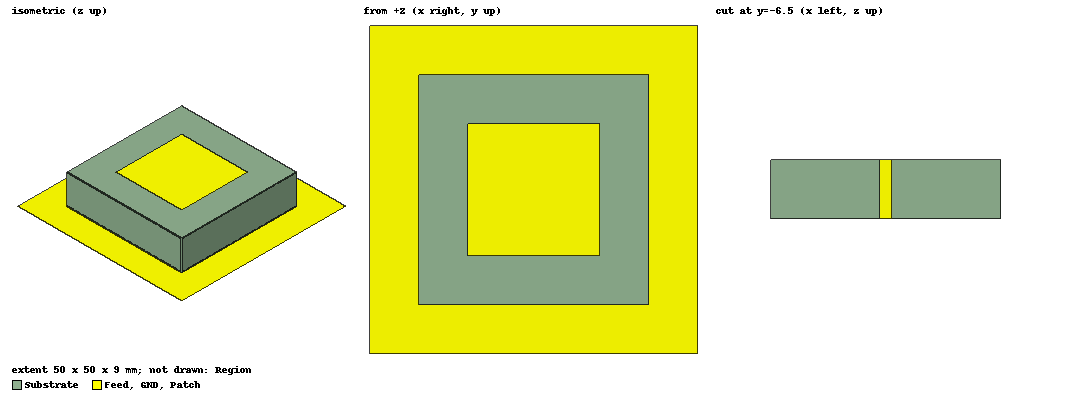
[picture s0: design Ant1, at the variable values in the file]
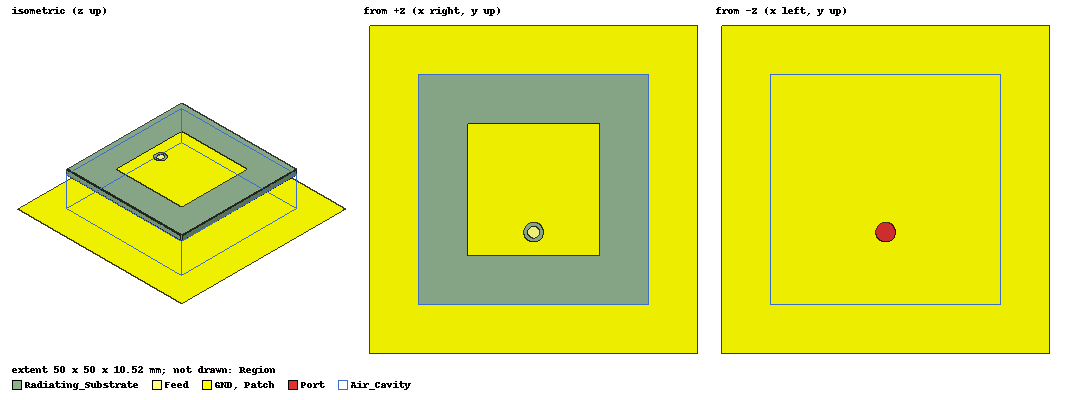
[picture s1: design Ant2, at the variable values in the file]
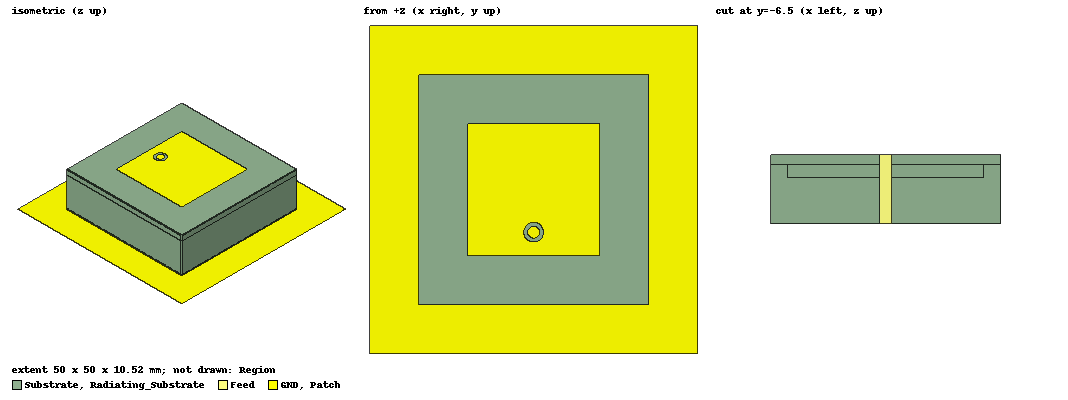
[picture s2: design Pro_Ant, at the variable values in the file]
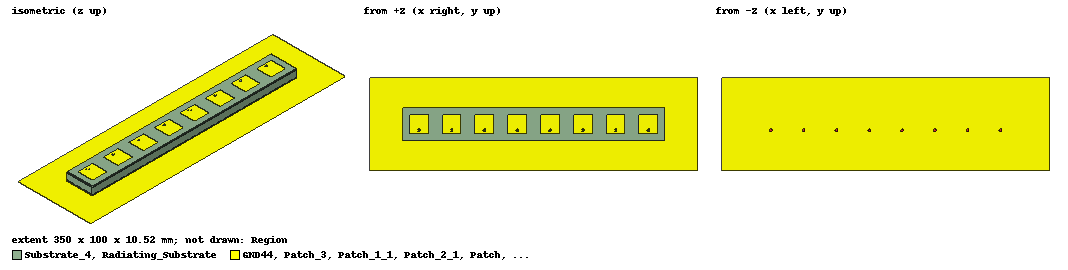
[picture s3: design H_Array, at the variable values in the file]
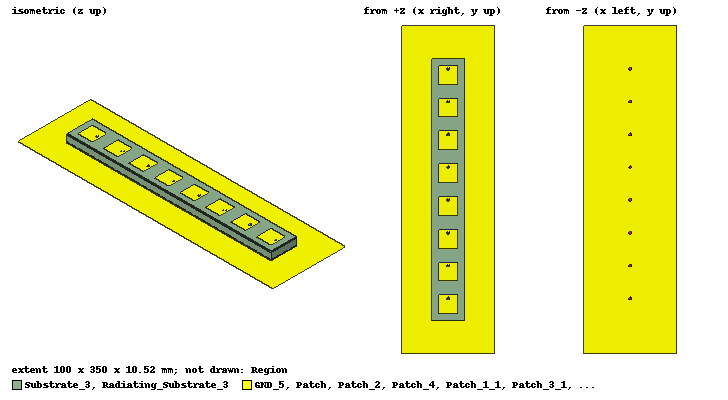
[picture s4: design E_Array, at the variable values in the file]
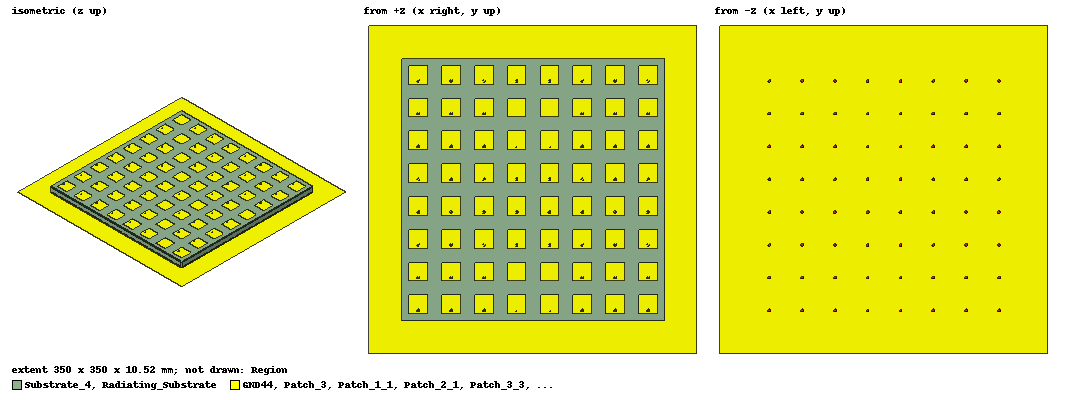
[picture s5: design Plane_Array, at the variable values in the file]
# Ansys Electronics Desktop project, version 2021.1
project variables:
  $Lg = 50mm
  $Ls = 35mm
  $Lp = 20mm
  $R1 = 0.9mm
  $R2 = 1.5mm
  $Kz = 3.5mm
  $La = 30mm  # optimise 15mm..45mm
  $H0 = 9mm
  $Ha = 2mm  # optimise 1mm..3mm
  $Ht = 1.524mm
  $L0 = 350mm
  $W0 = 100mm
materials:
  vacuum: permittivity=1
  FR4_epoxy: permittivity=4.4 dielectric_loss_tangent=0.02
  pec: conductivity=1e+30
  air: permittivity=1.0006 permeability=1.0000004
  Radiating_Substrate: permittivity=3.55
  polyamide: permittivity=4.3 dielectric_loss_tangent=0.004
  Rogers RO4003 (tm): permittivity=3.55 dielectric_loss_tangent=0.0027
  Rogers RT/duroid 5880 (tm): permittivity=2.2 dielectric_loss_tangent=0.0009
  Neltec NY9220(IM) (tm): permittivity=2.2 dielectric_loss_tangent=0.0009
  Duroid (tm): permittivity=2.2 dielectric_loss_tangent=0.0009
  copper: permeability=0.999991 conductivity=58000000
  Substrate: permittivity=2.2
  Material1: permittivity=2.2
  Material2: permittivity=3.55
  PMLGroup1_Z_1: permittivity{anisotropic component1=1.1 component2=1.1 component3=0.45454545} permeability{anisotropic component1=1.1 component2=1.1 component3=0.45454545} dielectric_loss_tangent{anisotropic component1=1 component2=1 component3=-1} magnetic_loss_tangent{anisotropic component1=1 component2=1 component3=-1}
  PMLGroup1_XZ_1: permittivity{anisotropic component1=1 component2=0.01 component3=1} permeability{anisotropic component1=1 component2=0.01 component3=1} dielectric_loss_tangent{anisotropic component1=0 component2=242 component3=0} magnetic_loss_tangent{anisotropic component1=0 component2=242 component3=0}
  PMLGroup1_YZ_1: permittivity{anisotropic component1=0.01 component2=1 component3=1} permeability{anisotropic component1=0.01 component2=1 component3=1} dielectric_loss_tangent{anisotropic component1=242 component2=0 component3=0} magnetic_loss_tangent{anisotropic component1=242 component2=0 component3=0}
  PMLGroup1_XYZ_1: permittivity{anisotropic component1=1.1 component2=1.1 component3=1.1} permeability{anisotropic component1=1.1 component2=1.1 component3=1.1} dielectric_loss_tangent{anisotropic component1=1 component2=1 component3=1} magnetic_loss_tangent{anisotropic component1=1 component2=1 component3=1}

design Ant1 (HFSS, DrivenModal, model units mm)
options: Allow_Material_Override
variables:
  Length = 27mm
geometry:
  Substrate [Radiating_Substrate] = box(corner=(-$Ls/2, -$Ls/2, 0mm), size=($Ls, $Ls, $H0))
  Patch = rectangle(corner=(-$Lp/2, -$Lp/2, $H0), x_size=$Lp, y_size=$Lp)
  GND = rectangle(corner=(-$Lg/2, -$Lg/2, 0mm), x_size=$Lg, y_size=$Lg)
  Feed [pec] = cylinder(axis=Z, base_centre=(0mm, -$Lp/2+$Kz, 0mm), radius=$R1, height=$H0)
  Port = circle(normal=Z, centre=(0mm, -$Lp/2+$Kz, 0mm), radius=$R2)
  Port_1 = Port.copy()
  GND.subtract(Port_1)
  Feed_1 = Feed.copy()
  Substrate.subtract(Feed_1)
  Region [vacuum] = region(absolute_offset=Length on all sides)
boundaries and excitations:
  PerfE1: Perfect E Objects=Patch
  PerfE2: Perfect E Objects=GND
  Rad1: Radiation Objects=Region
  1: Lumped Port Objects=Port Modes{Mode1{IntLine{Feed.edge(1 of 2) at 0.25 along -> Port.edge(1 of 1) at -0.25 along} CharImp=Zpi RenormImp=50ohm}} Impedance=50ohm
  reference conductors: Feed, GND
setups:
  Setup1: HfssDriven Frequency=3.8GHz MaxDeltaS=0.02 MaximumPasses=20 MinimumPasses=1 MinimumConvergedPasses=1 PercentRefinement=30 BasisOrder=1 PortAccuracy=2
    sweep Sweep: 2.5GHz to 5GHz step 0.01GHz; Type=Fast SaveFields
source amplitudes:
  1:1: 1W 0deg
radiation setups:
  Infinite Sphere1: Infinite Sphere Theta=-180deg..180deg step 1deg Phi=0deg..90deg step 90deg
  Infinite Sphere2: Infinite Sphere Theta=-180deg..180deg step 1deg Phi=-180deg..180deg step 1deg
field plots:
  Mag_E1: E Field on Setup1 : LastAdaptive at Freq=3.8GHz Phase=0deg
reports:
  Gain Plot 1: dB(GainTotal) vs Theta on Setup1 : Sweep, Infinite Sphere1 [Phi=0deg Freq=3.44GHz Length=all]; markers m1 at 0deg, m2 at 56deg, m3 at 53deg, m4 at 52deg, m5 at -87deg, m6 at 179deg
  Gain Plot 2: dB(GainTotal) vs Theta on Setup1 : Sweep, Infinite Sphere1 [Phi=90deg Freq=3.44GHz]
  Gain Plot 3: dB(GainTotal) vs Phi, Theta on Setup1 : Sweep, Infinite Sphere2 [Freq=3.44GHz]
  S Parameter Plot 1: dB(S(1,1)) vs Freq on Setup1 : Sweep; markers m1 at 3.26GHz, m2 at 3.62GHz, m3 at 3.61GHz, m4 at 3.29GHz, m5 at 3.29GHz, m6 at 3.12GHz, m7 at 2.68GHz, m8 at 2.68GHz, m9 at 3.44GHz, m10 at 3.43GHz

design Ant2 (HFSS, DrivenModal, model units mm)
options: Allow_Material_Override
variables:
  length = 35mm
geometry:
  Patch = rectangle(corner=(-$Lp/2, -$Lp/2, $H0+$Ht), x_size=$Lp, y_size=$Lp)
  GND = rectangle(corner=(-$Lg/2, -$Lg/2, 0mm), x_size=$Lg, y_size=$Lg)
  Port = circle(normal=Z, centre=(0mm, -$Lp/2+$Kz, 0mm), radius=$R2)
  Port_1 = Port.copy()
  GND.subtract(Port_1)
  Radiating_Substrate [Radiating_Substrate] = box(corner=(-$Ls/2, -$Ls/2, $H0), size=($Ls, $Ls, $Ht))
  Air_Cavity [vacuum] = box(corner=(-$Ls/2, -$Ls/2, 0mm), size=($Ls, $Ls, $H0))
  Feed [pec] = cylinder(axis=Z, base_centre=(0mm, -$Lp/2+$Kz, 0mm), radius=$R1, height=$H0+$Ht)
  port_2 = circle(normal=Z, centre=(0mm, -$Lp/2+$Kz, $Ht+$H0), radius=$R2)
  Patch.subtract(port_2)
  Feed_1 = Feed.copy()
  Radiating_Substrate.subtract(Feed_1)
  Region [vacuum] = region(absolute_offset=10mm on all sides)
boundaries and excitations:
  PerfE1: Perfect E Objects=Patch
  PerfE2: Perfect E Objects=GND
  Rad1: Radiation Objects=Region
  1: Lumped Port Objects=Port Modes{Mode1{IntLine{centre of Port.face(at (0, -6.5, 0)) -> Port.edge(1 of 1) at -0.25 along} CharImp=Zpi RenormImp=50ohm}} Impedance=50ohm
  reference conductors: GND
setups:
  Setup1: HfssDriven Frequency=3.8GHz MaxDeltaS=0.02 MaximumPasses=80 MinimumPasses=1 MinimumConvergedPasses=1 PercentRefinement=30 BasisOrder=1 PortAccuracy=2
    sweep Sweep: 2.5GHz to 5GHz step 0.01GHz; Type=Interpolating InterpTolerance=0.5 InterpMaxSolns=250 InterpUsePortImped=false InterpUsePropConst=false PassivityErrorTolerance=0.0001
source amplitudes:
  1:1: 1W 0deg
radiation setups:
  Infinite Sphere1: Infinite Sphere Theta=-180deg..180deg step 1deg Phi=0deg..90deg step 90deg
  Infinite Sphere2: Infinite Sphere Theta=-180deg..180deg step 1deg Phi=-180deg..180deg step 1deg
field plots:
  Mag_E1: E Field on Setup1 : LastAdaptive at Freq=3.8GHz Phase=0deg
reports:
  S Parameter Plot 1: dB(S(1,1)) vs Freq on Setup1 : Sweep; markers m1 at 3.32GHz, m2 at 4.78GHz, m3 at 4.77GHz, m4 at 3.32GHz, m5 at 3.33GHz
  Gain Plot 1: dB(GainTotal) vs Theta on Setup1 : LastAdaptive, Infinite Sphere1 [Phi=0deg Freq=3.8GHz]; markers m1 at 0deg, m2 at 39deg, m3 at 42deg, m4 at 44deg, m5 at -178deg
  Gain Plot 2: dB(GainTotal) vs Theta on Setup1 : LastAdaptive, Infinite Sphere1 [Phi=90deg Freq=3.8GHz]
  Gain Plot 3: dB(GainTotal) vs Phi, Theta on Setup1 : LastAdaptive, Infinite Sphere2 [Freq=3.8GHz]

design Pro_Ant (HFSS, DrivenModal, model units mm)
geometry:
  Substrate [Substrate] = box(corner=(-$Ls/2, -$Ls/2, 0mm), size=($Ls, $Ls, $H0))
  GND = rectangle(corner=(-$Lg/2, -$Lg/2, 0mm), x_size=$Lg, y_size=$Lg)
  Air_Cavity = box(corner=(-$La/2, -$La/2, $H0), size=($La, $La, -$Ha))
  Radiating_Substrate [Radiating_Substrate] = box(corner=(-$Ls/2, -$Ls/2, $H0), size=($Ls, $Ls, $Ht))
  Patch = rectangle(corner=(-$Lp/2, -$Lp/2, $H0+$Ht), x_size=$Lp, y_size=$Lp)
  Circle_da = circle(normal=Z, centre=(0mm, -$Lp/2+$Kz, $H0+$Ht), radius=$R2)
  Circle_xaio = circle(normal=Z, centre=(0mm, -$Lp/2+$Kz, $H0+$Ht), radius=$R1)
  Circle_da.subtract(Circle_xaio)
  Patch.subtract(Circle_da)
  Feed [pec] = cylinder(axis=Z, base_centre=(0mm, -$Lp/2+$Kz, 0mm), radius=$R1, height=$H0+$Ht)
  Port = circle(normal=Z, centre=(0mm, -$Lp/2+$Kz, 0mm), radius=$R2)
  Feed_1 = Feed.copy()
  Radiating_Substrate.subtract(Feed_1)
  Feed_2 = Feed.copy()
  Substrate.subtract(Feed_2)
  Substrate.subtract(Air_Cavity)
  Port_1 = Port.copy()
  GND.subtract(Port_1)
  point Point1 = (85mm, 0mm, 0mm)
  Region [vacuum] = region(absolute_offset=10mm on all sides)
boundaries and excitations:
  PerfE1: Perfect E Objects=GND
  PerfE2: Perfect E Objects=Patch
  Rad1: Radiation Objects=Region
  1: Lumped Port Objects=Port Modes{Mode1{IntLine{centre of Port.face(at (0, -6.5, 0)) -> middle of Port.edge(1 of 1)} CharImp=Zpi RenormImp=50ohm}} Impedance=50ohm
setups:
  Setup1: HfssDriven Frequency=3.8GHz MaxDeltaS=0.02 MaximumPasses=20 MinimumPasses=1 MinimumConvergedPasses=1 PercentRefinement=30 BasisOrder=1 PortAccuracy=2
    sweep Sweep: 2.5GHz to 5GHz step 0.01GHz; Type=Fast SaveFields
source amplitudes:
  1:1: 1W 0deg
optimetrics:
  ParametricSetup1: Parametric Sim._Setups=[Setup1]
    sweep $Ha: LIN 0mm 8mm 2mm
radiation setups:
  Infinite Sphere1: Infinite Sphere Theta=-180deg..180deg step 1deg Phi=0deg..90deg step 90deg
  Infinite Sphere2: Infinite Sphere Theta=-180deg..180deg step 1deg Phi=-180deg..180deg step 1deg
  Infinite Sphere3: Infinite Sphere Theta=0deg..180deg step 5deg Phi=-180deg..180deg step 5deg
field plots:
  Mag_E1: E Field on Setup1 : LastAdaptive at Freq=3.8GHz Phase=0deg
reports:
  Gain Plot 2: dB(GainTotal) vs Theta on Setup1 : LastAdaptive, Infinite Sphere1 [Phi=90deg Freq=3.8GHz]
  Gain Plot 3: dB(GainTotal) vs Phi, Theta on Setup1 : LastAdaptive, Infinite Sphere2 [Freq=3.8GHz]
  S Parameter Plot 1: dB(S(1,1)) vs Freq on Setup1 : Sweep [$Ha=2mm]; markers m1 at 3.1GHz, m2 at 4.9GHz, m3 at 4.93GHz
  Gain Plot 1: dB(GainTotal) vs Theta on Setup1 : LastAdaptive, Infinite Sphere1 [Phi=0deg Freq=3.8GHz]

design H_Array (HFSS, DrivenModal, model units mm)
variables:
  Length = 20mm  # optimise 7.5mm..22.5mm
  afa = 0deg  # optimise 76.5deg..229.5deg
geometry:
  Substrate = box(corner=(-$Ls/2, -$Ls/2, 0mm), size=($Ls, $Ls, $H0))
  GND = rectangle(corner=(-$Ls/2, -$W0/2, 0mm), x_size=$Ls, y_size=$W0)
  Air_Cavity = box(corner=(-$La/2, -$La/2, $H0), size=($La, $La, -$Ha))
  Radiating_Substrate [Radiating_Substrate] = box(corner=(-$Ls/2, -$Ls/2, $H0), size=($Ls, $Ls, $Ht))
  Patch = rectangle(corner=(-$Lp/2, -$Lp/2, $H0+$Ht), x_size=$Lp, y_size=$Lp)
  Circle_da = circle(normal=Z, centre=(0mm, -$Lp/2+$Kz, $H0+$Ht), radius=$R2)
  Circle_xaio = circle(normal=Z, centre=(0mm, -$Lp/2+$Kz, $H0+$Ht), radius=$R1)
  Circle_da.subtract(Circle_xaio)
  Patch.subtract(Circle_da)
  Feed [pec] = cylinder(axis=Z, base_centre=(0mm, -$Lp/2+$Kz, 0mm), radius=$R1, height=$H0+$Ht)
  Port = circle(normal=Z, centre=(0mm, -$Lp/2+$Kz, 0mm), radius=$R2)
  Feed_1 = Feed.copy()
  Radiating_Substrate.subtract(Feed_1)
  Feed_2 = Feed.copy()
  Substrate.subtract(Feed_2)
  Substrate.subtract(Air_Cavity)
  Port_1 = Port.copy()
  GND.subtract(Port_1)
  point Point1 = (85mm, 0mm, 0mm)
  Substrate_1, Substrate_2, Substrate_3 = Substrate.duplicate_along_line(step=(35mm, 0mm, 0mm), total=4)
  GND_1, GND_2, GND_3 = GND.duplicate_along_line(step=(35mm, 0mm, 0mm), total=4)
  Radiating_Substrate_1, Radiating_Substrate_2, Radiating_Substrate_3 = Radiating_Substrate.duplicate_along_line(step=(35mm, 0mm, 0mm), total=4)
  Patch_1, Patch_2, Patch_3 = Patch.duplicate_along_line(step=(35mm, 0mm, 0mm), total=4)
  Feed_3, Feed_4, Feed_5 [pec] = Feed.duplicate_along_line(step=(35mm, 0mm, 0mm), total=4)
  Port_2, Port_3, Port_4 = Port.duplicate_along_line(step=(35mm, 0mm, 0mm), total=4)
  Substrate_4 [Substrate] = Substrate.duplicate_along_line(step=(-140mm, 0mm, 0mm), total=2)
  Radiating_Substrate_4 = Radiating_Substrate.duplicate_along_line(step=(-140mm, 0mm, 0mm), total=2)
  Patch_4 = Patch.duplicate_along_line(step=(-140mm, 0mm, 0mm), total=2)
  Feed_6 [pec] = Feed.duplicate_along_line(step=(-140mm, 0mm, 0mm), total=2)
  Port_5 = Port.duplicate_along_line(step=(-140mm, 0mm, 0mm), total=2)
  Substrate_1_1 = Substrate_1.duplicate_along_line(step=(-140mm, 0mm, 0mm), total=2)
  Substrate_2_1 = Substrate_2.duplicate_along_line(step=(-140mm, 0mm, 0mm), total=2)
  Substrate_3_1 = Substrate_3.duplicate_along_line(step=(-140mm, 0mm, 0mm), total=2)
  GND_1_1 = GND_1.duplicate_along_line(step=(-140mm, 0mm, 0mm), total=2)
  GND_2_1 = GND_2.duplicate_along_line(step=(-140mm, 0mm, 0mm), total=2)
  GND_3_1 = GND_3.duplicate_along_line(step=(-140mm, 0mm, 0mm), total=2)
  GND_3.delete()
  Radiating_Substrate_1_1 = Radiating_Substrate_1.duplicate_along_line(step=(-140mm, 0mm, 0mm), total=2)
  Radiating_Substrate_2_1 = Radiating_Substrate_2.duplicate_along_line(step=(-140mm, 0mm, 0mm), total=2)
  Radiating_Substrate_3_1 = Radiating_Substrate_3.duplicate_along_line(step=(-140mm, 0mm, 0mm), total=2)
  Patch_1_1 = Patch_1.duplicate_along_line(step=(-140mm, 0mm, 0mm), total=2)
  Patch_2_1 = Patch_2.duplicate_along_line(step=(-140mm, 0mm, 0mm), total=2)
  Patch_3_1 = Patch_3.duplicate_along_line(step=(-140mm, 0mm, 0mm), total=2)
  Feed_3_1 [pec] = Feed_3.duplicate_along_line(step=(-140mm, 0mm, 0mm), total=2)
  Feed_4_1 [pec] = Feed_4.duplicate_along_line(step=(-140mm, 0mm, 0mm), total=2)
  Feed_5_1 [pec] = Feed_5.duplicate_along_line(step=(-140mm, 0mm, 0mm), total=2)
  Port_2_1 = Port_2.duplicate_along_line(step=(-140mm, 0mm, 0mm), total=2)
  Port_3_1 = Port_3.duplicate_along_line(step=(-140mm, 0mm, 0mm), total=2)
  Port_4_1 = Port_4.duplicate_along_line(step=(-140mm, 0mm, 0mm), total=2)
  Radiating_Substrate.unite(Radiating_Substrate_1, Radiating_Substrate_1_1, Radiating_Substrate_2, Radiating_Substrate_2_1, Radiating_Substrate_3, Radiating_Substrate_3_1, Radiating_Substrate_4)
  Substrate_4.unite(Substrate_3_1, Substrate_3, Substrate_2_1, Substrate_2, Substrate_1_1, Substrate_1, Substrate)
  GND33 = rectangle(corner=(-5.5*$Ls, -$W0/2, 0mm), x_size=2*$Ls, y_size=$W0)
  Port_5_1 = Port_5.copy()
  GND33.subtract(Port_5_1)
  GND44 = rectangle(corner=(2.5*$Ls, -$W0/2, 0mm), x_size=2*$Ls, y_size=$W0)
  Port_4_2 = Port_4.copy()
  GND44.subtract(Port_4_2)
  GND44.unite(GND_2, GND_1, GND, GND_3_1, GND_2_1, GND_1_1, GND33)
  Region [vacuum] = region(absolute_offset=Length on all sides)
  point Point2 = (-50mm, 30mm, 0mm)
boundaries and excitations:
  PerfE2: Perfect E Objects=Patch
  PerfE4: Perfect E Objects=Patch_1
  PerfE6: Perfect E Objects=Patch_2
  PerfE8: Perfect E Objects=Patch_3
  PerfE10: Perfect E Objects=Patch_4
  PerfE12: Perfect E Objects=Patch_1_1
  PerfE14: Perfect E Objects=Patch_2_1
  PerfE16: Perfect E Objects=Patch_3_1
  PerfE18: Perfect E Objects=GND44
  Rad1: Radiation Objects=Region
  1: Lumped Port Objects=Port_4 Modes{Mode1{IntLine{centre of Port_4.face(1 of 1) -> middle of Port_4.edge(1 of 1)} CharImp=Zpi RenormImp=50ohm}} Impedance=50ohm
  2: Lumped Port Objects=Port_3 Modes{Mode1{IntLine{centre of Port_3.face -> middle of Port_3.edge(1 of 1)} CharImp=Zpi RenormImp=50ohm}} Impedance=50ohm
  3: Lumped Port Objects=Port_2 Modes{Mode1{IntLine{centre of Port_2.face -> middle of Port_2.edge(1 of 1)} CharImp=Zpi RenormImp=50ohm}} Impedance=50ohm
  4: Lumped Port Objects=Port Modes{Mode1{IntLine{centre of Port.face(at (0, -6.5, 0)) -> middle of Port.edge(1 of 1)} CharImp=Zpi RenormImp=50ohm}} Impedance=50ohm
  5: Lumped Port Objects=Port_4_1 Modes{Mode1{IntLine{centre of Port_4_1.face -> middle of Port_4_1.edge(1 of 1)} CharImp=Zpi RenormImp=50ohm}} Impedance=50ohm
  6: Lumped Port Objects=Port_3_1 Modes{Mode1{IntLine{centre of Port_3_1.face -> middle of Port_3_1.edge(1 of 1)} CharImp=Zpi RenormImp=50ohm}} Impedance=50ohm
  7: Lumped Port Objects=Port_2_1 Modes{Mode1{IntLine{centre of Port_2_1.face -> middle of Port_2_1.edge(1 of 1)} CharImp=Zpi RenormImp=50ohm}} Impedance=50ohm
  8: Lumped Port Objects=Port_5 Modes{Mode1{IntLine{centre of Port_5.face(1 of 1) -> middle of Port_5.edge(1 of 1)} CharImp=Zpi RenormImp=50ohm}} Impedance=50ohm
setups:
  Setup1: HfssDriven Frequency=3.8GHz MaxDeltaS=0.02 MaximumPasses=20 MinimumPasses=1 MinimumConvergedPasses=1 PercentRefinement=30 BasisOrder=1 PortAccuracy=2
    sweep Sweep: 2.5GHz to 5GHz step 0.01GHz; Type=Fast SaveFields
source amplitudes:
  1:1: 1W afa
  2:1: 1W afa*2
  3:1: 1W afa*3
  4:1: 1W afa*4
  5:1: 1W afa*5
  6:1: 1W afa*6
  7:1: 1W afa*7
  8:1: 1W afa*8
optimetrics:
  ParametricSetup1: Parametric Sim._Setups=[Setup1]
    sweep $Ha: LIN 0mm 8mm 2mm
  ParametricSetup2: Parametric Sim._Setups=[Setup1]
    sweep $La: LIN 15mm 30mm 3mm
  ParametricSetup3: Parametric Sim._Setups=[Setup1]
    sweep afa: LIN -180deg 180deg 5deg
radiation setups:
  Infinite Sphere1: Infinite Sphere Theta=0deg..180deg step 1deg Phi=-180deg..180deg step 1deg
  Infinite Sphere2: Infinite Sphere Theta=-180deg..180deg step 1deg Phi=0deg..90deg step 90deg
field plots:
  Mag_E1: E Field on Setup1 : Sweep at Freq=3.8GHz Phase=0deg
  ComplexMag_E1: E Field on Setup1 : LastAdaptive at Freq=3.8GHz Phase=0deg
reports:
  Active S Parameter Plot 1: dB(ActiveS(1:1)) vs Freq on Setup1 : Sweep [Length=20mm $Ha=all]
  Active S Parameter Plot 2: dB(ActiveS(4:1)) vs Freq on Setup1 : Sweep [Length=all $La=15mm,18mm,21mm,24mm,27mm,30mm $Ha=2mm]
  Realized Gain Plot 2: dB(RealizedGainTotal) vs Theta on Setup1 : LastAdaptive, Infinite Sphere2 [Phi=0deg Freq=3.8GHz Length=all $La=30mm $Ha=2mm]; markers m1 at 60deg, m2 at 59deg, m3 at 58deg, m4 at 61deg, m5 at 62deg
  Realized Gain Plot 3: RealizedGainTotal vs Phi, Theta on Setup1 : LastAdaptive, Infinite Sphere1 [Freq=3.8GHz $La=30mm $Ha=2mm afa=-92deg]
  Realized Gain Plot 4: RealizedGainTotal vs Theta on Setup1 : LastAdaptive, Infinite Sphere2 [Phi=0deg Freq=3.8GHz Length=20mm $Ha=2mm afa=-175deg]

design E_Array (HFSS, DrivenModal, model units mm)
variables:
  Length = 28mm  # optimise 5mm..15mm
  afa = 0deg  # optimise -1deg..1deg
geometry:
  Substrate = box(corner=(-$Ls/2, -$Ls/2, 0mm), size=($Ls, $Ls, $H0))
  GND = rectangle(corner=(-$W0/2, -$Ls/2, 0mm), x_size=$W0, y_size=$Ls)
  Air_Cavity = box(corner=(-$La/2, -$La/2, $H0), size=($La, $La, -$Ha))
  Radiating_Substrate = box(corner=(-$Ls/2, -$Ls/2, $H0), size=($Ls, $Ls, $Ht))
  Patch = rectangle(corner=(-$Lp/2, -$Lp/2, $H0+$Ht), x_size=$Lp, y_size=$Lp)
  Circle_da = circle(normal=Z, centre=(0mm, -$Lp/2+$Kz, $H0+$Ht), radius=$R2)
  Circle_xaio = circle(normal=Z, centre=(0mm, -$Lp/2+$Kz, $H0+$Ht), radius=$R1)
  Circle_da.subtract(Circle_xaio)
  Patch.subtract(Circle_da)
  Feed [pec] = cylinder(axis=Z, base_centre=(0mm, -$Lp/2+$Kz, 0mm), radius=$R1, height=$H0+$Ht)
  Port = circle(normal=Z, centre=(0mm, -$Lp/2+$Kz, 0mm), radius=$R2)
  Feed_1 = Feed.copy()
  Radiating_Substrate.subtract(Feed_1)
  Feed_2 = Feed.copy()
  Substrate.subtract(Feed_2)
  Substrate.subtract(Air_Cavity)
  Port_1 = Port.copy()
  GND.subtract(Port_1)
  point Point1 = (85mm, 0mm, 0mm)
  Substrate_3 [Substrate], Substrate_1, Substrate_2 = Substrate.duplicate_along_line(step=(0mm, 35mm, 0mm), total=4)
  GND_1, GND_2, GND_3 = GND.duplicate_along_line(step=(0mm, 35mm, 0mm), total=4)
  Radiating_Substrate_3 [Radiating_Substrate], Radiating_Substrate_1, Radiating_Substrate_2 = Radiating_Substrate.duplicate_along_line(step=(0mm, 35mm, 0mm), total=4)
  Patch_1, Patch_2, Patch_3 = Patch.duplicate_along_line(step=(0mm, 35mm, 0mm), total=4)
  Feed_3, Feed_4, Feed_5 [pec] = Feed.duplicate_along_line(step=(0mm, 35mm, 0mm), total=4)
  Port_2, Port_3, Port_4 = Port.duplicate_along_line(step=(0mm, 35mm, 0mm), total=4)
  Substrate_4 = Substrate.duplicate_along_line(step=(0mm, -140mm, 0mm), total=2)
  Radiating_Substrate_4 = Radiating_Substrate.duplicate_along_line(step=(0mm, -140mm, 0mm), total=2)
  Patch_4 = Patch.duplicate_along_line(step=(0mm, -140mm, 0mm), total=2)
  Feed_6 [pec] = Feed.duplicate_along_line(step=(0mm, -140mm, 0mm), total=2)
  Port_5 = Port.duplicate_along_line(step=(0mm, -140mm, 0mm), total=2)
  Substrate_1_1 = Substrate_1.duplicate_along_line(step=(0mm, -140mm, 0mm), total=2)
  Substrate_2_1 = Substrate_2.duplicate_along_line(step=(0mm, -140mm, 0mm), total=2)
  Substrate_3_1 = Substrate_3.duplicate_along_line(step=(0mm, -140mm, 0mm), total=2)
  GND_1_1 = GND_1.duplicate_along_line(step=(0mm, -140mm, 0mm), total=2)
  GND_2_1 = GND_2.duplicate_along_line(step=(0mm, -140mm, 0mm), total=2)
  GND_3_1 = GND_3.duplicate_along_line(step=(0mm, -140mm, 0mm), total=2)
  GND_3.delete()
  Radiating_Substrate_1_1 = Radiating_Substrate_1.duplicate_along_line(step=(0mm, -140mm, 0mm), total=2)
  Radiating_Substrate_2_1 = Radiating_Substrate_2.duplicate_along_line(step=(0mm, -140mm, 0mm), total=2)
  Radiating_Substrate_3_1 = Radiating_Substrate_3.duplicate_along_line(step=(0mm, -140mm, 0mm), total=2)
  Patch_1_1 = Patch_1.duplicate_along_line(step=(0mm, -140mm, 0mm), total=2)
  Patch_2_1 = Patch_2.duplicate_along_line(step=(0mm, -140mm, 0mm), total=2)
  Patch_3_1 = Patch_3.duplicate_along_line(step=(0mm, -140mm, 0mm), total=2)
  Feed_3_1 [pec] = Feed_3.duplicate_along_line(step=(0mm, -140mm, 0mm), total=2)
  Feed_4_1 [pec] = Feed_4.duplicate_along_line(step=(0mm, -140mm, 0mm), total=2)
  Feed_5_1 [pec] = Feed_5.duplicate_along_line(step=(0mm, -140mm, 0mm), total=2)
  Port_2_1 = Port_2.duplicate_along_line(step=(0mm, -140mm, 0mm), total=2)
  Port_3_1 = Port_3.duplicate_along_line(step=(0mm, -140mm, 0mm), total=2)
  Port_4_1 = Port_4.duplicate_along_line(step=(0mm, -140mm, 0mm), total=2)
  Radiating_Substrate_3.unite(Radiating_Substrate_2, Radiating_Substrate_1, Radiating_Substrate, Radiating_Substrate_3_1, Radiating_Substrate_2_1, Radiating_Substrate_1_1, Radiating_Substrate_4)
  Substrate_3.unite(Substrate_2, Substrate_1, Substrate, Substrate_3_1, Substrate_2_1, Substrate_1_1, Substrate_4)
  GND_5 = rectangle(corner=(-$W0/2, 2.5*$Ls, 0mm), x_size=$W0, y_size=2*$Ls)
  Port_4_2 = Port_4.copy()
  GND_5.subtract(Port_4_2)
  GND_6 = rectangle(corner=(-$W0/2, -5.5*$LS, 0mm), x_size=$W0, y_size=2*$Ls)
  Port_5_1 = Port_5.copy()
  GND_6.subtract(Port_5_1)
  GND_5.unite(GND_2, GND_1, GND, GND_3_1, GND_2_1, GND_1_1, GND_6)
  Region [vacuum] = region(absolute_offset=Length on all sides)
  [Patch, Feed, Port, Substrate_3, Radiating_Substrate_3, Patch_1, Patch_2, Patch_3, Feed_3, Feed_4, Feed_5, Port_2, Port_3, Port_4, Patch_4, Feed_6, Port_5, Patch_1_1, Patch_2_1, Patch_3_1, Feed_3_1, Feed_4_1, Feed_5_1, Port_2_1, Port_3_1, Port_4_1, GND_5].rotate(axis=Z, angle=180deg)
  [Patch, Feed, Port, Substrate_3, Radiating_Substrate_3, Patch_1, Patch_2, Patch_3, Feed_3, Feed_4, Feed_5, Port_2, Port_3, Port_4, Patch_4, Feed_6, Port_5, Patch_1_1, Patch_2_1, Patch_3_1, Feed_3_1, Feed_4_1, Feed_5_1, Port_2_1, Port_3_1, Port_4_1, GND_5].move(0mm, -35mm, 0mm)
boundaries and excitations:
  PerfE2: Perfect E Objects=Patch
  PerfE4: Perfect E Objects=Patch_1
  PerfE6: Perfect E Objects=Patch_2
  PerfE8: Perfect E Objects=Patch_3
  PerfE10: Perfect E Objects=Patch_4
  PerfE12: Perfect E Objects=Patch_1_1
  PerfE14: Perfect E Objects=Patch_2_1
  PerfE16: Perfect E Objects=Patch_3_1
  PerfE17: Perfect E Objects=GND_5
  Rad1: Radiation Objects=Region
  1: Lumped Port Objects=Port_4 Modes{Mode1{IntLine{centre of Port_4.face(1 of 1) -> middle of Port_4.edge(1 of 1)} CharImp=Zpi RenormImp=50ohm}} Impedance=50ohm
  2: Lumped Port Objects=Port_3 Modes{Mode1{IntLine{centre of Port_3.face(1 of 1) -> middle of Port_3.edge(1 of 1)} CharImp=Zpi RenormImp=50ohm}} Impedance=50ohm
  3: Lumped Port Objects=Port_2 Modes{Mode1{IntLine{centre of Port_2.face(1 of 1) -> middle of Port_2.edge(1 of 1)} CharImp=Zpi RenormImp=50ohm}} Impedance=50ohm
  4: Lumped Port Objects=Port Modes{Mode1{IntLine{centre of Port.face(#215) -> middle of Port.edge(1 of 1)} CharImp=Zpi RenormImp=50ohm}} Impedance=50ohm
  5: Lumped Port Objects=Port_4_1 Modes{Mode1{IntLine{centre of Port_4_1.face(1 of 1) -> middle of Port_4_1.edge(1 of 1)} CharImp=Zpi RenormImp=50ohm}} Impedance=50ohm
  6: Lumped Port Objects=Port_3_1 Modes{Mode1{IntLine{centre of Port_3_1.face(1 of 1) -> middle of Port_3_1.edge(1 of 1)} CharImp=Zpi RenormImp=50ohm}} Impedance=50ohm
  7: Lumped Port Objects=Port_2_1 Modes{Mode1{IntLine{centre of Port_2_1.face(1 of 1) -> middle of Port_2_1.edge(1 of 1)} CharImp=Zpi RenormImp=50ohm}} Impedance=50ohm
  8: Lumped Port Objects=Port_5 Modes{Mode1{IntLine{centre of Port_5.face(1 of 1) -> middle of Port_5.edge(1 of 1)} CharImp=Zpi RenormImp=50ohm}} Impedance=50ohm
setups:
  Setup1: HfssDriven Frequency=3.8GHz MaxDeltaS=0.02 MaximumPasses=20 MinimumPasses=1 MinimumConvergedPasses=1 PercentRefinement=30 BasisOrder=1 PortAccuracy=2
    sweep Sweep: 2.5GHz to 5GHz step 0.01GHz; Type=Fast SaveFields
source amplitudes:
  1:1: 1W 7*afa
  2:1: 1W 6*afa
  3:1: 1W 5*afa
  4:1: 1W 4*afa
  5:1: 1W 3*afa
  6:1: 1W 2*afa
  7:1: 1W afa
  8:1: 1W 0deg
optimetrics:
  ParametricSetup1: Parametric Sim._Setups=[Setup1]
    sweep $Ha: LIN 0mm 8mm 2mm
  ParametricSetup2: Parametric Sim._Setups=[Setup1]
    sweep $La: LIN 15mm 30mm 3mm
  ParametricSetup3: Parametric Sim._Setups=[Setup1]
    sweep afa: LIN -180deg 180deg 5deg
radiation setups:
  Infinite Sphere1: Infinite Sphere Theta=-180deg..180deg step 1deg Phi=0deg..90deg step 90deg
  Infinite Sphere2: Infinite Sphere Theta=-180deg..180deg step 1deg Phi=-180deg..180deg step 1deg
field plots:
  Mag_E1: E Field on Setup1 : LastAdaptive at Freq=3.8GHz Phase=0deg
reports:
  Gain Plot 1: GainTotal vs Theta on Setup1 : LastAdaptive, Infinite Sphere1 [Phi=90deg Freq=3.8GHz Length=18mm $Ha=0mm]
  Realized Gain Plot 3: dB(RealizedGainTotal) vs Theta on Setup1 : LastAdaptive, Infinite Sphere1 [Phi=90deg Freq=3.8GHz Length=28mm $Ha=2mm]; markers m1 at 0deg
  Active S Parameter Plot 2: dB(ActiveS(4:1)) vs Freq on Setup1 : Sweep [Length=all $La=15mm,18mm,21mm,24mm,27mm,30mm $Ha=2mm]
  Realized Gain Plot 4: RealizedGainTotal vs Theta on Setup1 : LastAdaptive, Infinite Sphere1 [Phi=90deg Freq=3.8GHz Length=all $Ha=2mm]; markers m1 at 60deg, m2 at 61deg, m3 at 59deg
  Realized Gain Plot 5: RealizedGainTotal vs Phi, Theta on Setup1 : Sweep, Infinite Sphere2 [Freq=3.8GHz $La=30mm $Ha=2mm afa=0deg]

design Plane_Array (HFSS, DrivenModal, model units mm)
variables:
  W0 = 105mm
  length = 10mm
  afa = 60deg  # optimise 76.5deg..229.5deg
  beta = 0deg
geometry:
  Substrate = box(corner=(-$Ls/2, -$Ls/2, 0mm), size=($Ls, $Ls, $H0))
  GND = rectangle(corner=(-$Ls/2, -W0/2, 0mm), x_size=$Ls, y_size=W0)
  Air_Cavity = box(corner=(-$La/2, -$La/2, $H0), size=($La, $La, -$Ha))
  Radiating_Substrate [Radiating_Substrate] = box(corner=(-$Ls/2, -$Ls/2, $H0), size=($Ls, $Ls, $Ht))
  Patch = rectangle(corner=(-$Lp/2, -$Lp/2, $H0+$Ht), x_size=$Lp, y_size=$Lp)
  Circle_da = circle(normal=Z, centre=(0mm, -$Lp/2+$Kz, $H0+$Ht), radius=$R2)
  Circle_xaio = circle(normal=Z, centre=(0mm, -$Lp/2+$Kz, $H0+$Ht), radius=$R1)
  Circle_da.subtract(Circle_xaio)
  Patch.subtract(Circle_da)
  Feed [pec] = cylinder(axis=Z, base_centre=(0mm, -$Lp/2+$Kz, 0mm), radius=$R1, height=$H0+$Ht)
  Port = circle(normal=Z, centre=(0mm, -$Lp/2+$Kz, 0mm), radius=$R2)
  Feed_1 = Feed.copy()
  Radiating_Substrate.subtract(Feed_1)
  Feed_2 = Feed.copy()
  Substrate.subtract(Feed_2)
  Substrate.subtract(Air_Cavity)
  Port_1 = Port.copy()
  GND.subtract(Port_1)
  point Point1 = (85mm, 0mm, 0mm)
  Substrate_1, Substrate_2, Substrate_3 = Substrate.duplicate_along_line(step=(35mm, 0mm, 0mm), total=4)
  GND_1, GND_2, GND_3 = GND.duplicate_along_line(step=(35mm, 0mm, 0mm), total=4)
  Radiating_Substrate_1, Radiating_Substrate_2, Radiating_Substrate_3 = Radiating_Substrate.duplicate_along_line(step=(35mm, 0mm, 0mm), total=4)
  Patch_1, Patch_2, Patch_3 = Patch.duplicate_along_line(step=(35mm, 0mm, 0mm), total=4)
  Feed_3, Feed_4, Feed_5 [pec] = Feed.duplicate_along_line(step=(35mm, 0mm, 0mm), total=4)
  Port_2, Port_3, Port_4 = Port.duplicate_along_line(step=(35mm, 0mm, 0mm), total=4)
  Substrate_4 [Substrate] = Substrate.duplicate_along_line(step=(-140mm, 0mm, 0mm), total=2)
  Radiating_Substrate_4 = Radiating_Substrate.duplicate_along_line(step=(-140mm, 0mm, 0mm), total=2)
  Patch_4 = Patch.duplicate_along_line(step=(-140mm, 0mm, 0mm), total=2)
  Feed_6 [pec] = Feed.duplicate_along_line(step=(-140mm, 0mm, 0mm), total=2)
  Port_5 = Port.duplicate_along_line(step=(-140mm, 0mm, 0mm), total=2)
  Substrate_1_1 = Substrate_1.duplicate_along_line(step=(-140mm, 0mm, 0mm), total=2)
  Substrate_2_1 = Substrate_2.duplicate_along_line(step=(-140mm, 0mm, 0mm), total=2)
  Substrate_3_1 = Substrate_3.duplicate_along_line(step=(-140mm, 0mm, 0mm), total=2)
  GND_1_1 = GND_1.duplicate_along_line(step=(-140mm, 0mm, 0mm), total=2)
  GND_2_1 = GND_2.duplicate_along_line(step=(-140mm, 0mm, 0mm), total=2)
  GND_3_1 = GND_3.duplicate_along_line(step=(-140mm, 0mm, 0mm), total=2)
  GND_3.delete()
  Radiating_Substrate_1_1 = Radiating_Substrate_1.duplicate_along_line(step=(-140mm, 0mm, 0mm), total=2)
  Radiating_Substrate_2_1 = Radiating_Substrate_2.duplicate_along_line(step=(-140mm, 0mm, 0mm), total=2)
  Radiating_Substrate_3_1 = Radiating_Substrate_3.duplicate_along_line(step=(-140mm, 0mm, 0mm), total=2)
  Patch_1_1 = Patch_1.duplicate_along_line(step=(-140mm, 0mm, 0mm), total=2)
  Patch_2_1 = Patch_2.duplicate_along_line(step=(-140mm, 0mm, 0mm), total=2)
  Patch_3_1 = Patch_3.duplicate_along_line(step=(-140mm, 0mm, 0mm), total=2)
  Feed_3_1 [pec] = Feed_3.duplicate_along_line(step=(-140mm, 0mm, 0mm), total=2)
  Feed_4_1 [pec] = Feed_4.duplicate_along_line(step=(-140mm, 0mm, 0mm), total=2)
  Feed_5_1 [pec] = Feed_5.duplicate_along_line(step=(-140mm, 0mm, 0mm), total=2)
  Port_2_1 = Port_2.duplicate_along_line(step=(-140mm, 0mm, 0mm), total=2)
  Port_3_1 = Port_3.duplicate_along_line(step=(-140mm, 0mm, 0mm), total=2)
  Port_4_1 = Port_4.duplicate_along_line(step=(-140mm, 0mm, 0mm), total=2)
  Radiating_Substrate.unite(Radiating_Substrate_1, Radiating_Substrate_1_1, Radiating_Substrate_2, Radiating_Substrate_2_1, Radiating_Substrate_3, Radiating_Substrate_3_1, Radiating_Substrate_4)
  Substrate_4.unite(Substrate_3_1, Substrate_3, Substrate_2_1, Substrate_2, Substrate_1_1, Substrate_1, Substrate)
  GND33 = rectangle(corner=(-5.5*$Ls, -W0/2, 0mm), x_size=2*$Ls, y_size=W0)
  Port_5_1 = Port_5.copy()
  GND33.subtract(Port_5_1)
  GND44 = rectangle(corner=(2.5*$Ls, -W0/2, 0mm), x_size=2*$Ls, y_size=W0)
  Port_4_2 = Port_4.copy()
  GND44.subtract(Port_4_2)
  Extra1_Port = circle(normal=Z, centre=(3*$Ls, -$Lp/2+$Kz-$Ls, 0mm), radius=$R2)
  Extra2_Port = circle(normal=Z, centre=(3*$Ls, -$Lp/2+$Kz+$Ls, 0mm), radius=$R2)
  Extra1_Port_1..Extra1_Port_7 = Extra1_Port.duplicate_along_line(step=(-35mm, 0mm, 0mm), total=8)
  Extra2_Port_1..Extra2_Port_7 = Extra2_Port.duplicate_along_line(step=(-35mm, 0mm, 0mm), total=8)
  GND44.subtract(Extra1_Port, Extra2_Port)
  GND_2.subtract(Extra1_Port_1, Extra2_Port_1)
  GND_1.subtract(Extra1_Port_2, Extra2_Port_2)
  GND_1_1.subtract(Extra1_Port_6, Extra2_Port_6)
  GND_2_1.subtract(Extra1_Port_5, Extra2_Port_5)
  GND33.subtract(Extra1_Port_7, Extra2_Port_7)
  GND_3_1.subtract(Extra1_Port_4, Extra2_Port_4)
  GND.subtract(Extra1_Port_3, Extra2_Port_3)
  GND44.unite(GND_2, GND_1, GND, GND_3_1, GND_2_1, GND_1_1, GND33)
  Radiating_Substrate_5..Radiating_Substrate_11 = Radiating_Substrate.duplicate_along_line(step=(0mm, -35mm, 0mm), total=8)
  Patch_5..Patch_11 = Patch.duplicate_along_line(step=(0mm, -35mm, 0mm), total=8)
  Feed_7..Feed_13 [pec] = Feed.duplicate_along_line(step=(0mm, -35mm, 0mm), total=8)
  Port_6..Port_12 = Port.duplicate_along_line(step=(0mm, -35mm, 0mm), total=8)
  Patch_1_2..Patch_1_8 = Patch_1.duplicate_along_line(step=(0mm, -35mm, 0mm), total=8)
  Patch_2_2..Patch_2_8 = Patch_2.duplicate_along_line(step=(0mm, -35mm, 0mm), total=8)
  Patch_3_2..Patch_3_8 = Patch_3.duplicate_along_line(step=(0mm, -35mm, 0mm), total=8)
  Feed_3_2..Feed_3_8 [pec] = Feed_3.duplicate_along_line(step=(0mm, -35mm, 0mm), total=8)
  Feed_4_2..Feed_4_8 [pec] = Feed_4.duplicate_along_line(step=(0mm, -35mm, 0mm), total=8)
  Feed_5_2..Feed_5_8 [pec] = Feed_5.duplicate_along_line(step=(0mm, -35mm, 0mm), total=8)
  Port_2_2..Port_2_8 = Port_2.duplicate_along_line(step=(0mm, -35mm, 0mm), total=8)
  Port_3_2..Port_3_8 = Port_3.duplicate_along_line(step=(0mm, -35mm, 0mm), total=8)
  Port_4_3..Port_4_9 = Port_4.duplicate_along_line(step=(0mm, -35mm, 0mm), total=8)
  Substrate_4_1..Substrate_4_7 = Substrate_4.duplicate_along_line(step=(0mm, -35mm, 0mm), total=8)
  Patch_4_1..Patch_4_7 = Patch_4.duplicate_along_line(step=(0mm, -35mm, 0mm), total=8)
  Feed_6_1..Feed_6_7 [pec] = Feed_6.duplicate_along_line(step=(0mm, -35mm, 0mm), total=8)
  Port_5_2..Port_5_8 = Port_5.duplicate_along_line(step=(0mm, -35mm, 0mm), total=8)
  Patch_1_1_1..Patch_1_1_7 = Patch_1_1.duplicate_along_line(step=(0mm, -35mm, 0mm), total=8)
  Patch_2_1_1..Patch_2_1_7 = Patch_2_1.duplicate_along_line(step=(0mm, -35mm, 0mm), total=8)
  Patch_3_1_1..Patch_3_1_7 = Patch_3_1.duplicate_along_line(step=(0mm, -35mm, 0mm), total=8)
  Feed_3_1_1..Feed_3_1_7 [pec] = Feed_3_1.duplicate_along_line(step=(0mm, -35mm, 0mm), total=8)
  Feed_4_1_1..Feed_4_1_7 [pec] = Feed_4_1.duplicate_along_line(step=(0mm, -35mm, 0mm), total=8)
  Feed_5_1_1..Feed_5_1_7 [pec] = Feed_5_1.duplicate_along_line(step=(0mm, -35mm, 0mm), total=8)
  Port_2_1_1..Port_2_1_7 = Port_2_1.duplicate_along_line(step=(0mm, -35mm, 0mm), total=8)
  Port_3_1_1..Port_3_1_7 = Port_3_1.duplicate_along_line(step=(0mm, -35mm, 0mm), total=8)
  Port_4_1_1..Port_4_1_7 = Port_4_1.duplicate_along_line(step=(0mm, -35mm, 0mm), total=8)
  GND44_1..GND44_7 = GND44.duplicate_along_line(step=(0mm, -35mm, 0mm), total=8)
  GND44.unite(GND44_1..GND44_7)
  Radiating_Substrate.unite(Radiating_Substrate_5..Radiating_Substrate_11)
  Substrate_4.unite(Substrate_4_1..Substrate_4_7)
  Unite_Port = circle(normal=Z, centre=(3*$Ls, -$Lp/2+$Kz+$Ls, 0mm), radius=$R2)
  Unite_Port_1 = Unite_Port.duplicate_along_line(step=(0mm, -315mm, 0mm), total=2)
  Unite_Port_2..Unite_Port_8 = Unite_Port.duplicate_along_line(step=(-35mm, 0mm, 0mm), total=8)
  Unite_Port_1_1..Unite_Port_1_7 = Unite_Port_1.duplicate_along_line(step=(-35mm, 0mm, 0mm), total=8)
  GND44.unite(Unite_Port, Unite_Port_2..Unite_Port_8, Unite_Port_1, Unite_Port_1_1..Unite_Port_1_7)
  [Radiating_Substrate, Patch, Feed, Port, Patch_1, Patch_2, Patch_3, Feed_3, Feed_4, Feed_5, Port_2, Port_3, Port_4, Substrate_4, Patch_4, Feed_6, Port_5, Patch_1_1, Patch_2_1, Patch_3_1, Feed_3_1, Feed_4_1, Feed_5_1, Port_2_1, Port_3_1, Port_4_1, GND44, Patch_5..Patch_11, Feed_7..Feed_13, Port_6..Port_12, Patch_1_2..Patch_1_8, Patch_2_2..Patch_2_8, Patch_3_2..Patch_3_8, Feed_3_2..Feed_3_8, Feed_4_2..Feed_4_8, Feed_5_2..Feed_5_8, Port_2_2..Port_2_8, Port_3_2..Port_3_8, Port_4_3..Port_4_9, Patch_4_1..Patch_4_7, Feed_6_1..Feed_6_7, Port_5_2..Port_5_8, Patch_1_1_1..Patch_1_1_7, Patch_2_1_1..Patch_2_1_7, Patch_3_1_1..Patch_3_1_7, Feed_3_1_1..Feed_3_1_7, Feed_4_1_1..Feed_4_1_7, Feed_5_1_1..Feed_5_1_7, Port_2_1_1..Port_2_1_7, Port_3_1_1..Port_3_1_7, Port_4_1_1..Port_4_1_7].move(0mm, 105mm, 0mm)
  Region [vacuum] = region(absolute_offset=length on all sides)
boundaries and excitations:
  PerfE2: Perfect E Objects=Patch
  PerfE4: Perfect E Objects=Patch_1
  PerfE6: Perfect E Objects=Patch_2
  PerfE8: Perfect E Objects=Patch_3
  PerfE10: Perfect E Objects=Patch_4
  PerfE12: Perfect E Objects=Patch_1_1
  PerfE14: Perfect E Objects=Patch_2_1
  PerfE16: Perfect E Objects=Patch_3_1
  PerfE18: Perfect E Objects=GND44
  PerfE19: Perfect E Objects=Patch_5
  PerfE20: Perfect E Objects=Patch_1_2
  PerfE21: Perfect E Objects=Patch_2_2
  PerfE22: Perfect E Objects=Patch_3_2
  PerfE23: Perfect E Objects=Patch_4_1
  PerfE24: Perfect E Objects=Patch_1_1_1
  PerfE25: Perfect E Objects=Patch_2_1_1
  PerfE26: Perfect E Objects=Patch_3_1_1
  PerfE28: Perfect E Objects=Patch_6
  PerfE29: Perfect E Objects=Patch_1_3
  PerfE30: Perfect E Objects=Patch_2_3
  PerfE31: Perfect E Objects=Patch_3_3
  PerfE32: Perfect E Objects=Patch_4_2
  PerfE33: Perfect E Objects=Patch_1_1_2
  PerfE34: Perfect E Objects=Patch_2_1_2
  PerfE35: Perfect E Objects=Patch_3_1_2
  PerfE37: Perfect E Objects=Patch_7
  PerfE38: Perfect E Objects=Patch_1_4
  PerfE39: Perfect E Objects=Patch_2_4
  PerfE40: Perfect E Objects=Patch_3_4
  PerfE41: Perfect E Objects=Patch_4_3
  PerfE42: Perfect E Objects=Patch_1_1_3
  PerfE43: Perfect E Objects=Patch_2_1_3
  PerfE44: Perfect E Objects=Patch_3_1_3
  PerfE46: Perfect E Objects=Patch_8
  PerfE47: Perfect E Objects=Patch_1_5
  PerfE48: Perfect E Objects=Patch_2_5
  PerfE49: Perfect E Objects=Patch_3_5
  PerfE50: Perfect E Objects=Patch_4_4
  PerfE51: Perfect E Objects=Patch_1_1_4
  PerfE52: Perfect E Objects=Patch_2_1_4
  PerfE53: Perfect E Objects=Patch_3_1_4
  PerfE55: Perfect E Objects=Patch_9
  PerfE56: Perfect E Objects=Patch_1_6
  PerfE57: Perfect E Objects=Patch_2_6
  PerfE58: Perfect E Objects=Patch_3_6
  PerfE59: Perfect E Objects=Patch_4_5
  PerfE60: Perfect E Objects=Patch_1_1_5
  PerfE61: Perfect E Objects=Patch_2_1_5
  PerfE62: Perfect E Objects=Patch_3_1_5
  PerfE64: Perfect E Objects=Patch_10
  PerfE65: Perfect E Objects=Patch_1_7
  PerfE66: Perfect E Objects=Patch_2_7
  PerfE67: Perfect E Objects=Patch_3_7
  PerfE68: Perfect E Objects=Patch_4_6
  PerfE69: Perfect E Objects=Patch_1_1_6
  PerfE70: Perfect E Objects=Patch_2_1_6
  PerfE71: Perfect E Objects=Patch_3_1_6
  PerfE73: Perfect E Objects=Patch_11
  PerfE74: Perfect E Objects=Patch_1_8
  PerfE75: Perfect E Objects=Patch_2_8
  PerfE76: Perfect E Objects=Patch_3_8
  PerfE77: Perfect E Objects=Patch_4_7
  PerfE78: Perfect E Objects=Patch_1_1_7
  PerfE79: Perfect E Objects=Patch_2_1_7
  PerfE80: Perfect E Objects=Patch_3_1_7
  Rad1: Radiation Objects=Region
  1: Lumped Port Objects=Port_4 Modes{Mode1{IntLine{centre of Port_4.face(1 of 1) -> middle of Port_4.edge(1 of 1)} CharImp=Zpi RenormImp=50ohm}} Impedance=50ohm
  2: Lumped Port Objects=Port_3 Modes{Mode1{IntLine{centre of Port_3.face(1 of 1) -> middle of Port_3.edge(1 of 1)} CharImp=Zpi RenormImp=50ohm}} Impedance=50ohm
  3: Lumped Port Objects=Port_2 Modes{Mode1{IntLine{centre of Port_2.face(1 of 1) -> middle of Port_2.edge(1 of 1)} CharImp=Zpi RenormImp=50ohm}} Impedance=50ohm
  4: Lumped Port Objects=Port Modes{Mode1{IntLine{centre of Port.face(#215) -> middle of Port.edge(1 of 1)} CharImp=Zpi RenormImp=50ohm}} Impedance=50ohm
  5: Lumped Port Objects=Port_4_1 Modes{Mode1{IntLine{centre of Port_4_1.face(1 of 1) -> middle of Port_4_1.edge(1 of 1)} CharImp=Zpi RenormImp=50ohm}} Impedance=50ohm
  6: Lumped Port Objects=Port_3_1 Modes{Mode1{IntLine{centre of Port_3_1.face(1 of 1) -> middle of Port_3_1.edge(1 of 1)} CharImp=Zpi RenormImp=50ohm}} Impedance=50ohm
  7: Lumped Port Objects=Port_2_1 Modes{Mode1{IntLine{centre of Port_2_1.face(1 of 1) -> middle of Port_2_1.edge(1 of 1)} CharImp=Zpi RenormImp=50ohm}} Impedance=50ohm
  8: Lumped Port Objects=Port_5 Modes{Mode1{IntLine{centre of Port_5.face(1 of 1) -> middle of Port_5.edge(1 of 1)} CharImp=Zpi RenormImp=50ohm}} Impedance=50ohm
  9: Lumped Port Objects=Port_4_3 Modes{Mode1{IntLine{centre of Port_4_3.face -> middle of Port_4_3.edge(1 of 1)} CharImp=Zpi RenormImp=50ohm}} Impedance=50ohm
  10: Lumped Port Objects=Port_3_2 Modes{Mode1{IntLine{centre of Port_3_2.face -> middle of Port_3_2.edge(1 of 1)} CharImp=Zpi RenormImp=50ohm}} Impedance=50ohm
  11: Lumped Port Objects=Port_2_2 Modes{Mode1{IntLine{centre of Port_2_2.face -> middle of Port_2_2.edge(1 of 1)} CharImp=Zpi RenormImp=50ohm}} Impedance=50ohm
  12: Lumped Port Objects=Port_6 Modes{Mode1{IntLine{centre of Port_6.face -> middle of Port_6.edge(1 of 1)} CharImp=Zpi RenormImp=50ohm}} Impedance=50ohm
  13: Lumped Port Objects=Port_4_1_1 Modes{Mode1{IntLine{centre of Port_4_1_1.face -> middle of Port_4_1_1.edge(1 of 1)} CharImp=Zpi RenormImp=50ohm}} Impedance=50ohm
  14: Lumped Port Objects=Port_3_1_1 Modes{Mode1{IntLine{centre of Port_3_1_1.face -> middle of Port_3_1_1.edge(1 of 1)} CharImp=Zpi RenormImp=50ohm}} Impedance=50ohm
  15: Lumped Port Objects=Port_2_1_1 Modes{Mode1{IntLine{centre of Port_2_1_1.face -> middle of Port_2_1_1.edge(1 of 1)} CharImp=Zpi RenormImp=50ohm}} Impedance=50ohm
  16: Lumped Port Objects=Port_5_2 Modes{Mode1{IntLine{centre of Port_5_2.face -> middle of Port_5_2.edge(1 of 1)} CharImp=Zpi RenormImp=50ohm}} Impedance=50ohm
  17: Lumped Port Objects=Port_4_4 Modes{Mode1{IntLine{centre of Port_4_4.face -> middle of Port_4_4.edge(1 of 1)} CharImp=Zpi RenormImp=50ohm}} Impedance=50ohm
  18: Lumped Port Objects=Port_3_3 Modes{Mode1{IntLine{centre of Port_3_3.face -> middle of Port_3_3.edge(1 of 1)} CharImp=Zpi RenormImp=50ohm}} Impedance=50ohm
  19: Lumped Port Objects=Port_2_3 Modes{Mode1{IntLine{centre of Port_2_3.face -> middle of Port_2_3.edge(1 of 1)} CharImp=Zpi RenormImp=50ohm}} Impedance=50ohm
  20: Lumped Port Objects=Port_7 Modes{Mode1{IntLine{centre of Port_7.face -> middle of Port_7.edge(1 of 1)} CharImp=Zpi RenormImp=50ohm}} Impedance=50ohm
  21: Lumped Port Objects=Port_4_1_2 Modes{Mode1{IntLine{centre of Port_4_1_2.face -> middle of Port_4_1_2.edge(1 of 1)} CharImp=Zpi RenormImp=50ohm}} Impedance=50ohm
  22: Lumped Port Objects=Port_3_1_2 Modes{Mode1{IntLine{centre of Port_3_1_2.face -> middle of Port_3_1_2.edge(1 of 1)} CharImp=Zpi RenormImp=50ohm}} Impedance=50ohm
  23: Lumped Port Objects=Port_2_1_2 Modes{Mode1{IntLine{centre of Port_2_1_2.face -> middle of Port_2_1_2.edge(1 of 1)} CharImp=Zpi RenormImp=50ohm}} Impedance=50ohm
  24: Lumped Port Objects=Port_5_3 Modes{Mode1{IntLine{centre of Port_5_3.face -> middle of Port_5_3.edge(1 of 1)} CharImp=Zpi RenormImp=50ohm}} Impedance=50ohm
  25: Lumped Port Objects=Port_4_5 Modes{Mode1{IntLine{centre of Port_4_5.face -> middle of Port_4_5.edge(1 of 1)} CharImp=Zpi RenormImp=50ohm}} Impedance=50ohm
  26: Lumped Port Objects=Port_3_4 Modes{Mode1{IntLine{centre of Port_3_4.face -> middle of Port_3_4.edge(1 of 1)} CharImp=Zpi RenormImp=50ohm}} Impedance=50ohm
  27: Lumped Port Objects=Port_2_4 Modes{Mode1{IntLine{centre of Port_2_4.face -> middle of Port_2_4.edge(1 of 1)} CharImp=Zpi RenormImp=50ohm}} Impedance=50ohm
  28: Lumped Port Objects=Port_8 Modes{Mode1{IntLine{centre of Port_8.face -> middle of Port_8.edge(1 of 1)} CharImp=Zpi RenormImp=50ohm}} Impedance=50ohm
  29: Lumped Port Objects=Port_4_1_3 Modes{Mode1{IntLine{centre of Port_4_1_3.face -> middle of Port_4_1_3.edge(1 of 1)} CharImp=Zpi RenormImp=50ohm}} Impedance=50ohm
  30: Lumped Port Objects=Port_3_1_3 Modes{Mode1{IntLine{centre of Port_3_1_3.face -> middle of Port_3_1_3.edge(1 of 1)} CharImp=Zpi RenormImp=50ohm}} Impedance=50ohm
  31: Lumped Port Objects=Port_2_1_3 Modes{Mode1{IntLine{centre of Port_2_1_3.face -> middle of Port_2_1_3.edge(1 of 1)} CharImp=Zpi RenormImp=50ohm}} Impedance=50ohm
  32: Lumped Port Objects=Port_5_4 Modes{Mode1{IntLine{centre of Port_5_4.face -> middle of Port_5_4.edge(1 of 1)} CharImp=Zpi RenormImp=50ohm}} Impedance=50ohm
  33: Lumped Port Objects=Port_4_6 Modes{Mode1{IntLine{centre of Port_4_6.face -> middle of Port_4_6.edge(1 of 1)} CharImp=Zpi RenormImp=50ohm}} Impedance=50ohm
  34: Lumped Port Objects=Port_3_5 Modes{Mode1{IntLine{centre of Port_3_5.face -> middle of Port_3_5.edge(1 of 1)} CharImp=Zpi RenormImp=50ohm}} Impedance=50ohm
  35: Lumped Port Objects=Port_2_5 Modes{Mode1{IntLine{centre of Port_2_5.face -> middle of Port_2_5.edge(1 of 1)} CharImp=Zpi RenormImp=50ohm}} Impedance=50ohm
  36: Lumped Port Objects=Port_9 Modes{Mode1{IntLine{centre of Port_9.face -> middle of Port_9.edge(1 of 1)} CharImp=Zpi RenormImp=50ohm}} Impedance=50ohm
  37: Lumped Port Objects=Port_4_1_4 Modes{Mode1{IntLine{centre of Port_4_1_4.face -> middle of Port_4_1_4.edge(1 of 1)} CharImp=Zpi RenormImp=50ohm}} Impedance=50ohm
  38: Lumped Port Objects=Port_3_1_4 Modes{Mode1{IntLine{centre of Port_3_1_4.face -> middle of Port_3_1_4.edge(1 of 1)} CharImp=Zpi RenormImp=50ohm}} Impedance=50ohm
  39: Lumped Port Objects=Port_2_1_4 Modes{Mode1{IntLine{centre of Port_2_1_4.face -> middle of Port_2_1_4.edge(1 of 1)} CharImp=Zpi RenormImp=50ohm}} Impedance=50ohm
  40: Lumped Port Objects=Port_5_5 Modes{Mode1{IntLine{centre of Port_5_5.face -> middle of Port_5_5.edge(1 of 1)} CharImp=Zpi RenormImp=50ohm}} Impedance=50ohm
  41: Lumped Port Objects=Port_4_7 Modes{Mode1{IntLine{centre of Port_4_7.face -> middle of Port_4_7.edge(1 of 1)} CharImp=Zpi RenormImp=50ohm}} Impedance=50ohm
  42: Lumped Port Objects=Port_3_6 Modes{Mode1{IntLine{centre of Port_3_6.face -> middle of Port_3_6.edge(1 of 1)} CharImp=Zpi RenormImp=50ohm}} Impedance=50ohm
  43: Lumped Port Objects=Port_2_6 Modes{Mode1{IntLine{centre of Port_2_6.face -> middle of Port_2_6.edge(1 of 1)} CharImp=Zpi RenormImp=50ohm}} Impedance=50ohm
  44: Lumped Port Objects=Port_10 Modes{Mode1{IntLine{centre of Port_10.face -> middle of Port_10.edge(1 of 1)} CharImp=Zpi RenormImp=50ohm}} Impedance=50ohm
  45: Lumped Port Objects=Port_4_1_5 Modes{Mode1{IntLine{centre of Port_4_1_5.face -> middle of Port_4_1_5.edge(1 of 1)} CharImp=Zpi RenormImp=50ohm}} Impedance=50ohm
  46: Lumped Port Objects=Port_3_1_5 Modes{Mode1{IntLine{centre of Port_3_1_5.face -> middle of Port_3_1_5.edge(1 of 1)} CharImp=Zpi RenormImp=50ohm}} Impedance=50ohm
  47: Lumped Port Objects=Port_2_1_5 Modes{Mode1{IntLine{centre of Port_2_1_5.face -> middle of Port_2_1_5.edge(1 of 1)} CharImp=Zpi RenormImp=50ohm}} Impedance=50ohm
  48: Lumped Port Objects=Port_5_6 Modes{Mode1{IntLine{centre of Port_5_6.face -> middle of Port_5_6.edge(1 of 1)} CharImp=Zpi RenormImp=50ohm}} Impedance=50ohm
  49: Lumped Port Objects=Port_4_8 Modes{Mode1{IntLine{centre of Port_4_8.face -> middle of Port_4_8.edge(1 of 1)} CharImp=Zpi RenormImp=50ohm}} Impedance=50ohm
  50: Lumped Port Objects=Port_3_7 Modes{Mode1{IntLine{centre of Port_3_7.face -> middle of Port_3_7.edge(1 of 1)} CharImp=Zpi RenormImp=50ohm}} Impedance=50ohm
  51: Lumped Port Objects=Port_2_7 Modes{Mode1{IntLine{centre of Port_2_7.face -> middle of Port_2_7.edge(1 of 1)} CharImp=Zpi RenormImp=50ohm}} Impedance=50ohm
  52: Lumped Port Objects=Port_11 Modes{Mode1{IntLine{centre of Port_11.face -> middle of Port_11.edge(1 of 1)} CharImp=Zpi RenormImp=50ohm}} Impedance=50ohm
  53: Lumped Port Objects=Port_4_1_6 Modes{Mode1{IntLine{centre of Port_4_1_6.face -> middle of Port_4_1_6.edge(1 of 1)} CharImp=Zpi RenormImp=50ohm}} Impedance=50ohm
  54: Lumped Port Objects=Port_3_1_6 Modes{Mode1{IntLine{centre of Port_3_1_6.face -> middle of Port_3_1_6.edge(1 of 1)} CharImp=Zpi RenormImp=50ohm}} Impedance=50ohm
  55: Lumped Port Objects=Port_2_1_6 Modes{Mode1{IntLine{centre of Port_2_1_6.face -> middle of Port_2_1_6.edge(1 of 1)} CharImp=Zpi RenormImp=50ohm}} Impedance=50ohm
  56: Lumped Port Objects=Port_5_7 Modes{Mode1{IntLine{centre of Port_5_7.face -> middle of Port_5_7.edge(1 of 1)} CharImp=Zpi RenormImp=50ohm}} Impedance=50ohm
  57: Lumped Port Objects=Port_4_9 Modes{Mode1{IntLine{centre of Port_4_9.face -> middle of Port_4_9.edge(1 of 1)} CharImp=Zpi RenormImp=50ohm}} Impedance=50ohm
  58: Lumped Port Objects=Port_3_8 Modes{Mode1{IntLine{centre of Port_3_8.face -> middle of Port_3_8.edge(1 of 1)} CharImp=Zpi RenormImp=50ohm}} Impedance=50ohm
  59: Lumped Port Objects=Port_2_8 Modes{Mode1{IntLine{centre of Port_2_8.face -> middle of Port_2_8.edge(1 of 1)} CharImp=Zpi RenormImp=50ohm}} Impedance=50ohm
  60: Lumped Port Objects=Port_12 Modes{Mode1{IntLine{centre of Port_12.face -> middle of Port_12.edge(1 of 1)} CharImp=Zpi RenormImp=50ohm}} Impedance=50ohm
  61: Lumped Port Objects=Port_4_1_7 Modes{Mode1{IntLine{centre of Port_4_1_7.face -> middle of Port_4_1_7.edge(1 of 1)} CharImp=Zpi RenormImp=50ohm}} Impedance=50ohm
  62: Lumped Port Objects=Port_3_1_7 Modes{Mode1{IntLine{centre of Port_3_1_7.face -> middle of Port_3_1_7.edge(1 of 1)} CharImp=Zpi RenormImp=50ohm}} Impedance=50ohm
  63: Lumped Port Objects=Port_2_1_7 Modes{Mode1{IntLine{centre of Port_2_1_7.face -> middle of Port_2_1_7.edge(1 of 1)} CharImp=Zpi RenormImp=50ohm}} Impedance=50ohm
  64: Lumped Port Objects=Port_5_8 Modes{Mode1{IntLine{centre of Port_5_8.face -> middle of Port_5_8.edge(1 of 1)} CharImp=Zpi RenormImp=50ohm}} Impedance=50ohm
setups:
  Setup1: HfssDriven Frequency=3.8GHz MaxDeltaS=0.02 MaximumPasses=20 MinimumPasses=1 MinimumConvergedPasses=1 PercentRefinement=30 BasisOrder=1 PortAccuracy=2
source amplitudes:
  1:1: 1W afa+beta
  2:1: 1W afa*2+beta
  3:1: 1W afa*3+beta
  4:1: 1W afa*4+beta
  5:1: 1W afa*5+beta
  6:1: 1W afa*6+beta
  7:1: 1W afa*7+beta
  8:1: 1W afa*8+beta
  9:1: 1W afa+beta*2
  10:1: 1W afa*2+beta*2
  11:1: 1W afa*3+beta*2
  12:1: 1W afa*4+beta*2
  13:1: 1W afa*5+beta*2
  14:1: 1W afa*6+beta*2
  15:1: 1W afa*7+beta*2
  16:1: 1W afa*8+beta*2
  17:1: 1W afa+beta*3
  18:1: 1W afa*2+beta*3
  19:1: 1W afa*3+beta*3
  20:1: 1W afa*4+beta*3
  21:1: 1W afa*5+beta*3
  22:1: 1W afa*6+beta*3
  23:1: 1W afa*7+beta*3
  24:1: 1W afa*8+beta*3
  25:1: 1W afa+beta*4
  26:1: 1W afa*2+beta*4
  27:1: 1W afa*3+beta*4
  28:1: 1W afa*4+beta*4
  29:1: 1W afa*5+beta*4
  30:1: 1W afa*6+beta*4
  31:1: 1W afa*7+beta*4
  32:1: 1W afa*8+beta*4
  33:1: 1W afa+beta*5
  34:1: 1W afa*2+beta*5
  35:1: 1W afa*3+beta*5
  36:1: 1W afa*4+beta*5
  37:1: 1W afa*5+beta*5
  38:1: 1W afa*6+beta*5
  39:1: 1W afa*7+beta*5
  40:1: 1W afa*8+beta*5
  41:1: 1W afa+beta*6
  42:1: 1W afa*2+beta*6
  43:1: 1W afa*3+beta*6
  44:1: 1W afa*4+beta*6
  45:1: 1W afa*5+beta*6
  46:1: 1W afa*6+beta*6
  47:1: 1W afa*7+beta*6
  48:1: 1W afa*8+beta*6
  49:1: 1W afa+beta*7
  50:1: 1W afa*2+beta*7
  51:1: 1W afa*3+beta*7
  52:1: 1W afa*4+beta*7
  53:1: 1W afa*5+beta*7
  54:1: 1W afa*6+beta*7
  55:1: 1W afa*7+beta*7
  56:1: 1W afa*8+beta*7
  57:1: 1W afa+beta*8
  58:1: 1W afa*2+beta*8
  59:1: 1W afa*3+beta*8
  60:1: 1W afa*4+beta*8
  61:1: 1W afa*5+beta*8
  62:1: 1W afa*6+beta*8
  63:1: 1W afa*7+beta*8
  64:1: 1W afa*8+beta*8
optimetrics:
  ParametricSetup1: Parametric
    sweep afa: LIN -180deg 180deg 10deg
    sweep beta: LIN -180deg 180deg 10deg
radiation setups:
  Infinite Sphere1: Infinite Sphere Theta=-180deg..180deg step 1deg Phi=0deg..90deg step 45deg
  Infinite Sphere2: Infinite Sphere Theta=-180deg..180deg step 1deg Phi=-180deg..180deg step 1deg
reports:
  Realized Gain Plot 1: dB(RealizedGainTotal) vs Theta on Setup1 : LastAdaptive, Infinite Sphere1 [Phi=0deg Freq=3.8GHz W0=all length=all $Lg=all $Ls=all $Lp=all $R1=all $R2=all $Kz=all $La=all $H0=all $Ha=all $Ht=all $L0=all $W0=all]; markers m1 at 47deg, m2 at 49deg, m3 at 48deg, m4 at -48deg, m5 at -49deg, m6 at -47deg, m7 at 60deg, m8 at 59deg, m9 at 70deg, m10 at 71deg, m11 at 69deg
